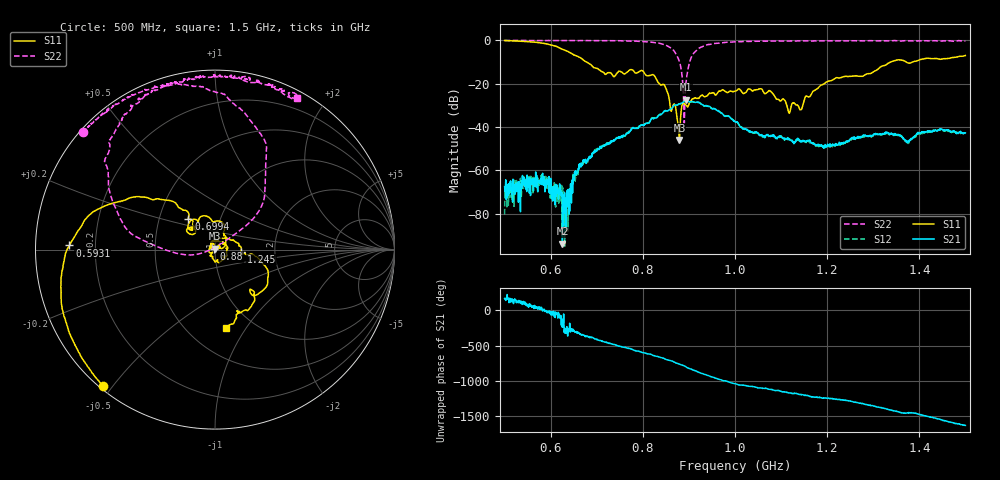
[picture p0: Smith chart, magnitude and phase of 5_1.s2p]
!Agilent Technologies,E8364B,US42250235,A.06.04.32
!Agilent E8364B: A.06.04.32
!Date: Friday, January 15, 2021 14:40:04
!Correction: S11(Full 2 Port(1,2)) S21(Full 2 Port(1,2)) S12(Full 2 Port(1,2)) S22(Full 2 Port(1,2))
!S2P File: Measurements: S11, S21, S12, S22:
# Hz S  dB  R 50
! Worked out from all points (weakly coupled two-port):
!   1601 points, 500 MHz to 1.5 GHz, reference 50 ohm
!   highest |S21| = -27.42 dB at 893.1 MHz (marker M1); lowest = -93.9 dB at 625.6 MHz (marker M2)
!   lowest |S11| = -46.0 dB at 879.4 MHz (marker M3), VSWR 1.01, Z = 49.8 + j0.463 ohm
!   |S11| at or under -10 dB: 676.7 MHz to 1.339 GHz (661.9 MHz wide, 65.7 % of centre); 1.371 GHz to 1.386 GHz (15.38 MHz wide, 1.12 % of centre)
!   |S22| runs from -38.3 to -0.1 dB; largest |S21 - S12| = 0.0012
!   S11 on the Smith chart (normalised r, x): 500 MHz: 0.01, -0.47; 593.1 MHz: 0.10, +0.01; 699.4 MHz: 0.70, +0.25; 880 MHz: 0.99, +0.01; 1.245 GHz: 1.34, -0.03; 1.5 GHz: 0.75, -0.82
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5e8  -0.16 -129.4  -67.53 169.5  -80.45 -9.3  -0.14 138.4
5.45625e8  -0.61 -151.2  -68.67 81.6  -67.47 112.8  -0.14 134.5
5.93125e8  -1.82 178.4  -65.32 -9.8  -64.39 -41.4  -0.15 129.6
6.25625e8  -4.18 154.9  -93.93 158.0  -81.78 155.8  -0.19 125.9
6.34375e8  -4.94 150.3  -73.00 63.5  -77.49 106.4  -0.17 125.2
6.66875e8  -8.42 133.6  -57.17 7.8  -56.82 23.6  -0.18 121.5
6.99375e8  -12.95 131.1  -51.14 -49.4  -50.68 -46.3  -0.20 118.3
8.3375e8  -19.64 62.4  -34.95 63.3  -34.79 62.4  -1.30 85.9
8.49375e8  -21.87 40.6  -32.45 26.4  -32.51 24.7  -2.26 77.0
8.79375e8  -46.04 111.3  -29.41 -42.4  -29.36 -42.5  -9.86 41.1
8.8e8  -44.03 143.2  -29.37 -44.2  -29.33 -45.1  -10.32 40.3
8.875e8  -29.14 137.2  -28.68 -61.3  -28.69 -61.5  -22.69 40.3
8.93125e8  -29.82 100.4  -27.42 -80.4  -27.50 -80.2  -20.95 -165.0
9.0125e8  -28.78 120.9  -28.41 -105.4  -28.42 -106.3  -10.37 178.4
9.15625e8  -26.78 89.9  -28.55 -141.5  -28.63 -142.3  -4.87 160.2
1e9  -23.56 -14.8  -37.71 40.9  -37.59 40.3  -0.77 120.5
1.07625e9  -23.42 -91.8  -44.31 -39.1  -44.19 -39.4  -0.41 107.8
1.1175e9  -33.61 -136.0  -45.45 -91.4  -45.49 -89.7  -0.36 103.4
1.166875e9  -24.43 75.5  -47.54 -145.6  -47.60 -142.4  -0.37 97.3
1.245e9  -16.75 -4.3  -46.55 157.6  -46.40 158.5  -0.30 88.6
1.33375e9  -10.46 -18.9  -43.16 30.5  -43.22 34.5  -0.30 79.3
1.5e9  -7.06 -81.9  -42.82 168.0  -43.11 163.6  -0.34 61.6
